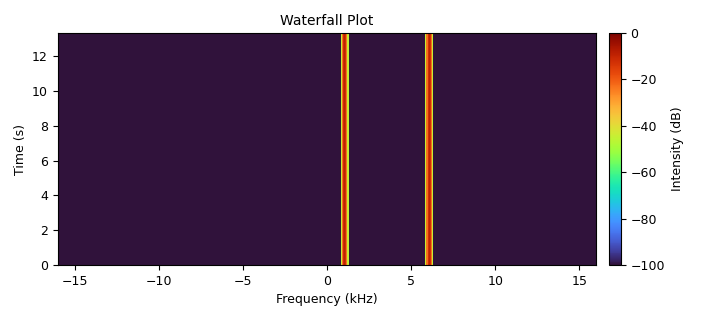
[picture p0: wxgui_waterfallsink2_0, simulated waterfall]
<?xml version='1.0' encoding='utf-8'?>
<flow_graph>
<block>
<key>options</key>
<param><key>id</key><value>top_block</value></param>
<param><key>title</key><value>Test1</value></param>
<param><key>author</key><value>samcarey</value></param>
<param><key>generate_options</key><value>wx_gui</value></param>
<param><key>category</key><value>Custom</value></param>
</block>
<block>
<key>variable</key>
<param><key>id</key><value>samp_rate</value></param>
<param><key>value</key><value>32000</value></param>
</block>
<block>
<key>variable</key>
<param><key>id</key><value>fftSize</value></param>
<param><key>value</key><value>1024</value></param>
</block>
<block>
<key>analog_sig_source_x</key>
<param><key>id</key><value>analog_sig_source_x_0</value></param>
<param><key>type</key><value>complex</value></param>
<param><key>samp_rate</key><value>samp_rate</value></param>
<param><key>waveform</key><value>analog.GR_COS_WAVE</value></param>
<param><key>freq</key><value>1000</value></param>
<param><key>amp</key><value>0.5</value></param>
<param><key>offset</key><value>0</value></param>
</block>
<block>
<key>analog_sig_source_x</key>
<param><key>id</key><value>analog_sig_source_x_0_0</value></param>
<param><key>type</key><value>complex</value></param>
<param><key>samp_rate</key><value>samp_rate</value></param>
<param><key>waveform</key><value>analog.GR_COS_WAVE</value></param>
<param><key>freq</key><value>6000</value></param>
<param><key>amp</key><value>0.5</value></param>
<param><key>offset</key><value>0</value></param>
</block>
<block>
<key>blocks_throttle</key>
<param><key>id</key><value>blocks_throttle_0</value></param>
<param><key>type</key><value>complex</value></param>
<param><key>samples_per_second</key><value>samp_rate</value></param>
</block>
<block>
<key>wxgui_waterfallsink2</key>
<param><key>id</key><value>wxgui_waterfallsink2_0</value></param>
<param><key>type</key><value>complex</value></param>
<param><key>title</key><value>Waterfall Plot</value></param>
<param><key>samp_rate</key><value>samp_rate</value></param>
<param><key>baseband_freq</key><value>0</value></param>
<param><key>dynamic_range</key><value>100</value></param>
<param><key>ref_level</key><value>0</value></param>
<param><key>ref_scale</key><value>2.0</value></param>
<param><key>fft_size</key><value>512</value></param>
<param><key>fft_rate</key><value>15</value></param>
<param><key>average</key><value>False</value></param>
<param><key>avg_alpha</key><value>0</value></param>
<param><key>win</key><value>None</value></param>
<param><key>freqvar</key><value>None</value></param>
</block>
<block>
<key>blocks_throttle</key>
<param><key>id</key><value>blocks_throttle_0_0</value></param>
<param><key>type</key><value>complex</value></param>
<param><key>samples_per_second</key><value>samp_rate</value></param>
</block>
<block>
<key>blocks_add_xx</key>
<param><key>id</key><value>blocks_add_xx_0</value></param>
<param><key>type</key><value>complex</value></param>
</block>
<connection><source_block_id>analog_sig_source_x_0</source_block_id><sink_block_id>blocks_throttle_0</sink_block_id><source_key>0</source_key><sink_key>0</sink_key></connection>
<connection><source_block_id>analog_sig_source_x_0_0</source_block_id><sink_block_id>blocks_throttle_0_0</sink_block_id><source_key>0</source_key><sink_key>0</sink_key></connection>
<connection><source_block_id>blocks_throttle_0</source_block_id><sink_block_id>blocks_add_xx_0</sink_block_id><source_key>0</source_key><sink_key>0</sink_key></connection>
<connection><source_block_id>blocks_throttle_0_0</source_block_id><sink_block_id>blocks_add_xx_0</sink_block_id><source_key>0</source_key><sink_key>1</sink_key></connection>
<connection><source_block_id>blocks_add_xx_0</source_block_id><sink_block_id>wxgui_waterfallsink2_0</sink_block_id><source_key>0</source_key><sink_key>0</sink_key></connection>
</flow_graph>
